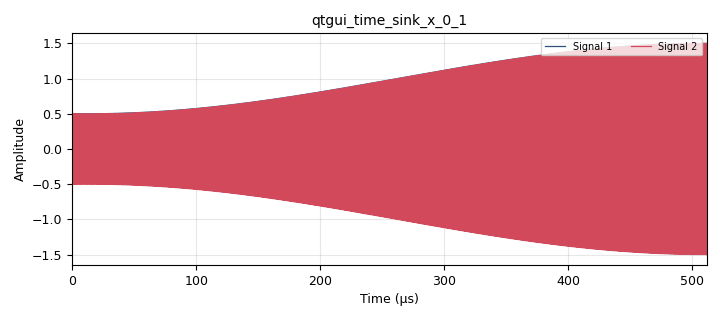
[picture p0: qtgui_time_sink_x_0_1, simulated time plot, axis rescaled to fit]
options:
  parameters:
    author: Bauti
    generate_options: qt_gui
    id: TPAMa
    output_language: python
    title: Not titled yet
  states: {}

blocks:
- name: m
  id: variable
  parameters:
    value: '0.5'
  states: {}
- name: samp_rate
  id: variable
  parameters:
    value: 2e6
  states: {}
- name: variable_low_pass_filter_taps_1
  id: variable_low_pass_filter_taps
  parameters:
    cutoff_freq: '20000'
    gain: '2'
    samp_rate: samp_rate
    width: '10000'
    win: window.WIN_HAMMING
  states: {}
- name: analog_sig_source_x_0
  id: analog_sig_source_x
  parameters:
    amp: '1'
    freq: '1000'
    offset: '0'
    phase: '0'
    samp_rate: samp_rate
    type: float
    waveform: analog.GR_COS_WAVE
  states: {}
- name: analog_sig_source_x_1
  id: analog_sig_source_x
  parameters:
    amp: '1'
    freq: 1e6
    offset: '0'
    phase: '0'
    samp_rate: samp_rate
    type: float
    waveform: analog.GR_COS_WAVE
  states: {}
- name: blocks_abs_xx_0
  id: blocks_abs_xx
  parameters:
    type: float
  states: {}
- name: blocks_add_const_vxx_0
  id: blocks_add_const_vxx
  parameters:
    const: '1'
    type: float
  states: {}
- name: blocks_char_to_float_0_0
  id: blocks_char_to_float
  parameters:
    scale: '1'
  states: {state: disabled}
- name: blocks_multiply_const_vxx_0
  id: blocks_multiply_const_vxx
  parameters:
    const: m
    type: float
  states: {}
- name: blocks_multiply_xx_0
  id: blocks_multiply_xx
  parameters:
    type: float
  states: {}
- name: blocks_multiply_xx_1
  id: blocks_multiply_xx
  parameters:
    type: float
  states: {state: disabled}
- name: blocks_peak_detector2_fb_0
  id: blocks_peak_detector2_fb
  parameters:
    alpha: '0.001'
    look_ahead: '5'
    threshold_factor_rise: '0.5'
  states: {state: disabled}
- name: blocks_throttle2_0
  id: blocks_throttle2
  parameters:
    samples_per_second: samp_rate
    type: float
  states: {}
- name: fir_filter_xxx_0
  id: fir_filter_xxx
  parameters:
    decim: '1'
    taps: variable_low_pass_filter_taps_1
    type: fff
  states: {state: disabled}
- name: note_0
  id: note
  parameters:
    note: Detector Sincronico
  states: {}
- name: note_0_0
  id: note
  parameters:
    note: Generador AM
  states: {}
- name: note_0_1
  id: note
  parameters:
    note: Detector Asincronico
  states: {}
- name: qtgui_time_sink_x_0
  id: qtgui_time_sink_x
  parameters:
    ctrlpanel: 'True'
    size: '1024'
    srate: samp_rate
    tr_mode: qtgui.TRIG_MODE_AUTO
    type: float
  states: {state: disabled}
- name: qtgui_time_sink_x_0_0
  id: qtgui_time_sink_x
  parameters:
    ctrlpanel: 'True'
    nconnections: '3'
    size: '1024'
    srate: samp_rate
    tr_mode: qtgui.TRIG_MODE_AUTO
    type: float
  states: {state: disabled}
- name: qtgui_time_sink_x_0_1
  id: qtgui_time_sink_x
  parameters:
    ctrlpanel: 'True'
    nconnections: '2'
    size: '1024'
    srate: samp_rate
    tr_mode: qtgui.TRIG_MODE_AUTO
    type: float
  states: {}
- name: virtual_sink_0
  id: virtual_sink
  parameters:
    stream_id: AM
  states: {}
- name: virtual_source_0
  id: virtual_source
  parameters:
    stream_id: AM
  states: {state: disabled}
- name: virtual_source_0_0
  id: virtual_source
  parameters:
    stream_id: AM
  states: {}

connections:
- [analog_sig_source_x_0, '0', blocks_multiply_const_vxx_0, '0']
- [analog_sig_source_x_1, '0', blocks_throttle2_0, '0']
- [blocks_abs_xx_0, '0', qtgui_time_sink_x_0_1, '0']
- [blocks_add_const_vxx_0, '0', blocks_multiply_xx_0, '0']
- [blocks_char_to_float_0_0, '0', blocks_multiply_xx_1, '0']
- [blocks_char_to_float_0_0, '0', qtgui_time_sink_x_0_0, '0']
- [blocks_multiply_const_vxx_0, '0', blocks_add_const_vxx_0, '0']
- [blocks_multiply_xx_0, '0', qtgui_time_sink_x_0, '0']
- [blocks_multiply_xx_0, '0', virtual_sink_0, '0']
- [blocks_multiply_xx_1, '0', fir_filter_xxx_0, '0']
- [blocks_multiply_xx_1, '0', qtgui_time_sink_x_0_0, '1']
- [blocks_peak_detector2_fb_0, '0', blocks_char_to_float_0_0, '0']
- [blocks_throttle2_0, '0', blocks_multiply_xx_0, '1']
- [fir_filter_xxx_0, '0', qtgui_time_sink_x_0_0, '2']
- [virtual_source_0, '0', blocks_multiply_xx_1, '1']
- [virtual_source_0, '0', blocks_peak_detector2_fb_0, '0']
- [virtual_source_0_0, '0', blocks_abs_xx_0, '0']
- [virtual_source_0_0, '0', qtgui_time_sink_x_0_1, '1']

metadata:
  file_format: 1
  grc_version: 3.10.12.0
